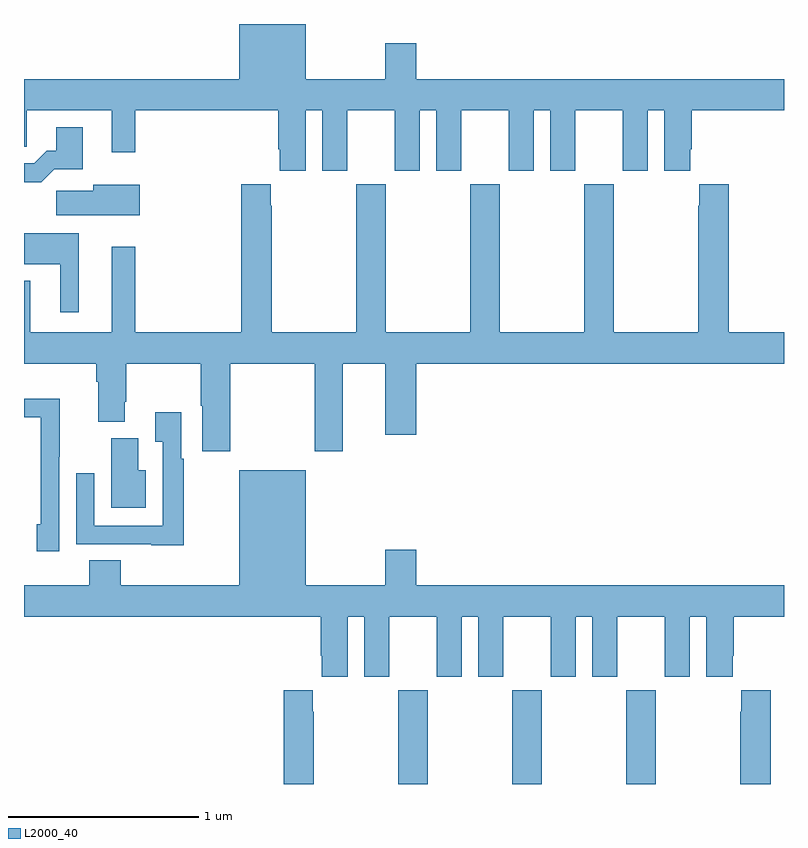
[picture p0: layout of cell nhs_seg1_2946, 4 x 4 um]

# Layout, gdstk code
import gdstk
lib = gdstk.Library(unit=1e-6, precision=1e-09)
def R(c, l, rs):  # rectangles x0, y0, x1, y1
    for r in rs: c.add(gdstk.rectangle(r[:2], r[2:], *l))
def A(c, l, x, y, w, h, nx, ny, dx, dy):  # array of equal rectangles
    R(c, l, [(x+i*dx, y+j*dy, x+i*dx+w, y+j*dy+h) for i in range(nx) for j in range(ny)])
def P(c, l, *ps):  # polygons
    for p in ps: c.add(gdstk.Polygon(p, *l))
L2000_40 = (2000, 40)

nhs_seg1_2946 = lib.new_cell('nhs_seg1_2946')
A(nhs_seg1_2946, L2000_40, 272.971, 536.199, 0.155, 0.493, 3, 1, 0.6, 0)
P(nhs_seg1_2946, L2000_40, [(272.482,539.744),(272.57,539.744),(272.57,539.427),(272.701,539.427),(272.701,539.744),(272.951,539.744),(272.951,539.427),(273.082,539.427),(273.082,539.744),(273.17,539.744),(273.17,539.427),(273.301,539.427),(273.301,539.744),(273.551,539.744),(273.551,539.427),(273.682,539.427),(273.682,539.744),(273.77,539.744),(273.77,539.427),(273.901,539.427),(273.901,539.744),(274.151,539.744),(274.151,539.427),(274.282,539.427),(274.282,539.744),(274.37,539.744),(274.37,539.427),(274.507,539.427),(274.507,539.539),(274.514,539.539),(274.514,539.744),(275,539.744),(275,539.908),(273.064,539.908),(273.064,540.097),(272.9,540.097),(272.9,539.908),(272.482,539.908),(272.482,540.199),(272.132,540.199),(272.132,539.908),(271,539.908),(271,539.554),(271.014,539.554),(271.014,539.744),(271.463,539.744),(271.463,539.523),(271.585,539.523),(271.585,539.744),(272.339,539.744),(272.339,539.539),(272.345,539.539),(272.345,539.427),(272.482,539.427)],
  [(271.16,539.435),(271.309,539.435),(271.309,539.656),(271.169,539.656),(271.169,539.533),(271.12,539.533),(271.053,539.466),(271,539.466),(271,539.366),(271.091,539.366)],
  [(272.085,538.412),(272.53,538.412),(272.53,537.951),(272.677,537.951),(272.677,538.412),(272.9,538.412),(272.9,538.038),(273.064,538.038),(273.064,538.412),(275,538.412),(275,538.576),(274.709,538.576),(274.709,539.356),(274.553,539.356),(274.553,539.243),(274.549,539.243),(274.549,538.576),(274.104,538.576),(274.104,539.356),(273.949,539.356),(273.949,538.576),(273.504,538.576),(273.504,539.356),(273.349,539.356),(273.349,538.576),(272.904,538.576),(272.904,539.356),(272.749,539.356),(272.749,538.576),(272.304,538.576),(272.304,539.243),(272.299,539.243),(272.299,539.356),(272.144,539.356),(272.144,538.576),(271.585,538.576),(271.585,539.026),(271.463,539.026),(271.463,538.576),(271.033,538.576),(271.033,538.849),(271,538.849),(271,538.412),(271.379,538.412),(271.379,538.316),(271.391,538.316),(271.391,538.105),(271.531,538.105),(271.531,538.21),(271.539,538.21),(271.539,538.412),(271.93,538.412),(271.93,538.19),(271.937,538.19),(271.937,537.951),(272.085,537.951)],
  [(271.609,539.353),(271.364,539.353),(271.364,539.321),(271.17,539.321),(271.17,539.192),(271.609,539.192)],
  [(271.288,539.098),(271,539.098),(271,538.934),(271.19,538.934),(271.19,538.683),(271.288,538.683)],
  [(271.185,537.922),(271.187,537.922),(271.187,538.226),(271,538.226),(271,538.128),(271.089,538.128),(271.089,537.567),(271.067,537.567),(271.067,537.423),(271.185,537.423)],
  [(271.84,537.911),(271.827,537.911),(271.827,538.156),(271.691,538.156),(271.691,538),(271.731,538),(271.731,537.558),(271.371,537.558),(271.371,537.835),(271.275,537.835),(271.275,537.462),(271.671,537.462),(271.671,537.455),(271.84,537.455)],
  [(271.642,537.85),(271.6,537.85),(271.6,538.02),(271.46,538.02),(271.46,537.653),(271.642,537.653)],
  [(272.704,537.08),(272.792,537.08),(272.792,536.763),(272.923,536.763),(272.923,537.08),(273.173,537.08),(273.173,536.763),(273.304,536.763),(273.304,537.08),(273.392,537.08),(273.392,536.763),(273.523,536.763),(273.523,537.08),(273.773,537.08),(273.773,536.763),(273.904,536.763),(273.904,537.08),(273.992,537.08),(273.992,536.763),(274.123,536.763),(274.123,537.08),(274.373,537.08),(274.373,536.763),(274.504,536.763),(274.504,537.08),(274.592,537.08),(274.592,536.763),(274.729,536.763),(274.729,536.875),(274.736,536.875),(274.736,537.08),(275,537.08),(275,537.244),(273.064,537.244),(273.064,537.433),(272.9,537.433),(272.9,537.244),(272.482,537.244),(272.482,537.85),(272.132,537.85),(272.132,537.244),(271.508,537.244),(271.508,537.377),(271.343,537.377),(271.343,537.244),(271,537.244),(271,537.08),(272.561,537.08),(272.561,536.875),(272.567,536.875),(272.567,536.763),(272.704,536.763)],
  [(272.526,536.579),(272.521,536.579),(272.521,536.692),(272.366,536.692),(272.366,536.199),(272.526,536.199)],
  [(274.931,536.692),(274.775,536.692),(274.775,536.579),(274.771,536.579),(274.771,536.199),(274.931,536.199)])

lib.write_gds('nhs_seg1_2946.gds')
